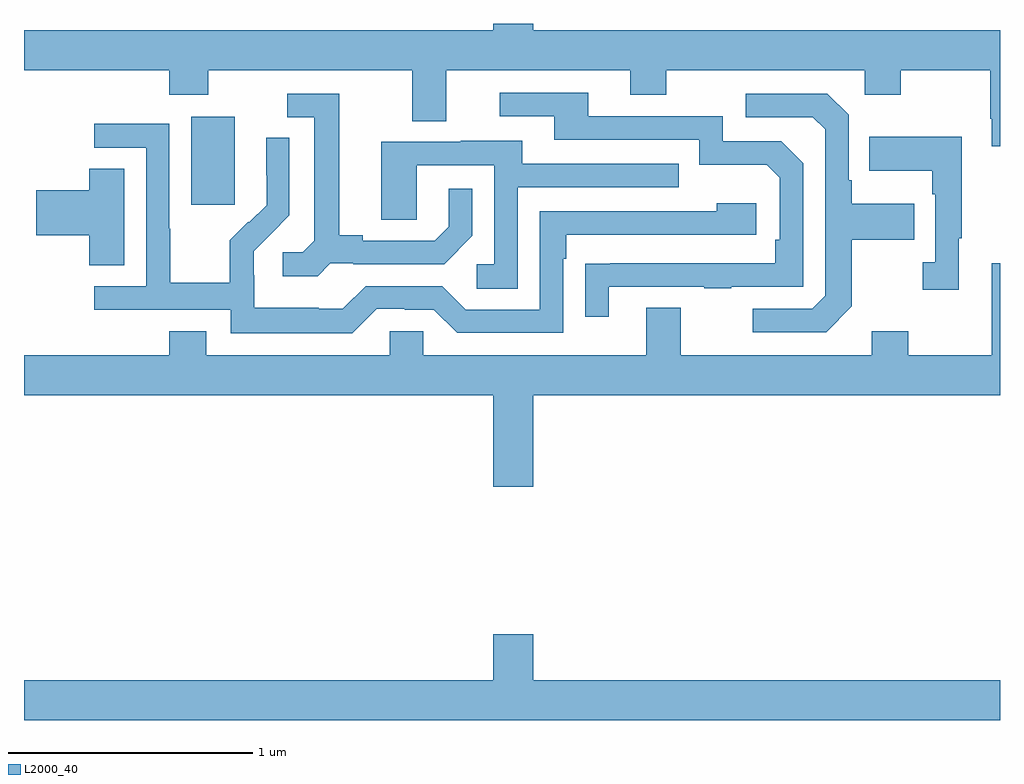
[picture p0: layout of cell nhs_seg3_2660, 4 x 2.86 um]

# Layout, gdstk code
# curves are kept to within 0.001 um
import gdstk
lib = gdstk.Library(unit=1e-6, precision=1e-09)
def R(c, l, rs):  # rectangles x0, y0, x1, y1
    for r in rs: c.add(gdstk.rectangle(r[:2], r[2:], *l))
def P(c, l, *ps):  # polygons
    for p in ps: c.add(gdstk.Polygon(p, *l))
L2000_40 = (2000, 40)

nhs_seg3_2660 = lib.new_cell('nhs_seg3_2660')
R(nhs_seg3_2660, L2000_40, [(247.685,741.657,247.864,742.018)])
P(nhs_seg3_2660, L2000_40, [(251,742.372),(249.088,742.372),(249.088,742.4),(248.924,742.4),(248.924,742.372),(247,742.372),(247,742.208),(247.595,742.208),(247.595,742.109),(247.755,742.109),(247.755,742.208),(248.591,742.208),(248.591,742),(248.731,742),(248.731,742.208),(249.485,742.208),(249.485,742.109),(249.633,742.109),(249.633,742.208),(250.446,742.208),(250.446,742.109),(250.593,742.109),(250.593,742.208),(250.96,742.208),(250.96,742.009),(250.967,742.009),(250.967,741.897),(251,741.897)],
  [(249.397,741.321),(249.787,741.321),(249.787,741.316),(249.899,741.316),(249.899,741.321),(250.194,741.321),(250.194,741.828),(250.104,741.918),(249.864,741.918),(249.864,742.02),(249.313,742.02),(249.313,742.116),(248.949,742.116),(248.949,742.02),(249.173,742.02),(249.173,741.924),(249.768,741.924),(249.768,741.821),(250.045,741.821),(250.098,741.768),(250.098,741.514),(250.078,741.514),(250.078,741.417),(249.301,741.416),(249.301,741.198),(249.397,741.198)],
  [(250.393,741.241),(250.393,741.514),(250.649,741.514),(250.649,741.661),(250.393,741.661),(250.393,741.757),(250.38,741.757),(250.38,742.026),(250.293,742.113),(249.957,742.113),(249.957,742.017),(250.233,742.017),(250.284,741.966),(250.284,741.285),(250.23,741.231),(249.987,741.231),(249.987,741.135),(250.287,741.135)],
  [(248.256,741.417),(248.35,741.417),(248.35,741.414),(248.722,741.414),(248.838,741.53),(248.838,741.724),(248.741,741.724),(248.741,741.567),(248.684,741.51),(248.389,741.51),(248.389,741.533),(248.293,741.533),(248.293,742.113),(248.079,742.113),(248.079,742.017),(248.189,742.017),(248.189,741.509),(248.142,741.462),(248.061,741.462),(248.061,741.365),(248.204,741.365)],
  [(248.445,741.231),(248.561,741.231),(248.561,741.228),(248.679,741.228),(248.775,741.132),(249.21,741.132),(249.21,741.437),(249.223,741.437),(249.223,741.534),(250,741.534),(250,741.664),(249.839,741.664),(249.839,741.63),(249.114,741.63),(249.114,741.228),(248.811,741.228),(248.715,741.324),(248.4,741.324),(248.307,741.231),(248.207,741.231),(248.207,741.235),(247.944,741.235),(247.944,741.369),(247.942,741.369),(247.942,741.466),(248.088,741.614),(248.088,741.932),(247.992,741.932),(247.992,741.778),(247.994,741.778),(247.994,741.656),(247.923,741.585),(247.92,741.588),(247.843,741.511),(247.843,741.337),(247.599,741.337),(247.599,741.56),(247.596,741.56),(247.596,741.99),(247.287,741.99),(247.287,741.891),(247.5,741.891),(247.5,741.324),(247.287,741.324),(247.287,741.228),(247.848,741.228),(247.848,741.131),(248.345,741.131)],
  [(250.831,741.521),(250.843,741.521),(250.843,741.937),(250.465,741.937),(250.465,741.797),(250.722,741.797),(250.722,741.701),(250.734,741.701),(250.734,741.422),(250.683,741.422),(250.683,741.309),(250.831,741.309)],
  [(249.024,741.729),(249.683,741.729),(249.683,741.825),(249.043,741.825),(249.043,741.919),(248.789,741.919),(248.789,741.915),(248.465,741.915),(248.465,741.595),(248.61,741.595),(248.61,741.819),(248.928,741.819),(248.928,741.414),(248.856,741.414),(248.856,741.313),(249.024,741.313)],
  [(247.411,741.806),(247.268,741.806),(247.268,741.716),(247.05,741.716),(247.05,741.533),(247.268,741.533),(247.268,741.409),(247.411,741.409)],
  [(249.088,740.876),(251,740.876),(251,741.418),(250.967,741.418),(250.967,741.04),(250.623,741.04),(250.623,741.139),(250.475,741.139),(250.475,741.04),(249.691,741.04),(249.691,741.235),(249.551,741.235),(249.551,741.04),(248.637,741.04),(248.637,741.138),(248.499,741.138),(248.499,741.04),(247.747,741.04),(247.747,741.139),(247.595,741.139),(247.595,741.04),(247,741.04),(247,740.876),(248.924,740.876),(248.924,740.502),(249.088,740.502)],
  [(251,739.708),(249.088,739.708),(249.088,739.897),(248.924,739.897),(248.924,739.708),(247,739.708),(247,739.544),(251,739.544)])

lib.write_gds('nhs_seg3_2660.gds')
